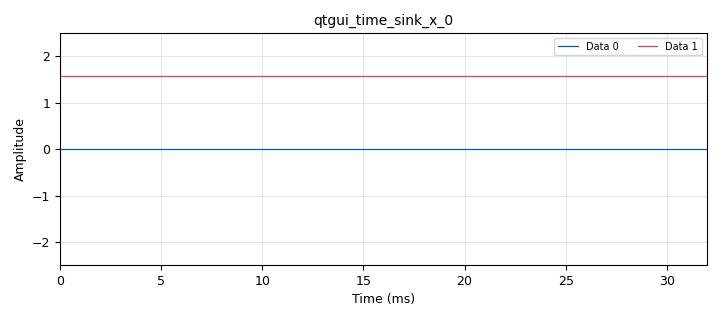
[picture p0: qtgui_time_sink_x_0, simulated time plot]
<?xml version='1.0' encoding='utf-8'?>
<?grc format='1' created='3.7.7'?>
<flow_graph>
<block>
<key>analog_sig_source_x</key>
<param><key>id</key><value>analog_sig_source_x_0</value></param>
<param><key>type</key><value>float</value></param>
<param><key>samp_rate</key><value>samp_rate</value></param>
<param><key>waveform</key><value>analog.GR_COS_WAVE</value></param>
<param><key>freq</key><value>freq</value></param>
<param><key>amp</key><value>amp</value></param>
<param><key>offset</key><value>0</value></param>
</block>
<block>
<key>variable</key>
<param><key>id</key><value>samp_rate</value></param>
<param><key>value</key><value>32000</value></param>
</block>
<block>
<key>blocks_throttle</key>
<param><key>id</key><value>blocks_throttle_0</value></param>
<param><key>type</key><value>float</value></param>
<param><key>samples_per_second</key><value>samp_rate</value></param>
</block>
<block>
<key>analog_phase_modulator_fc</key>
<param><key>id</key><value>analog_phase_modulator_fc_0</value></param>
<param><key>sensitivity</key><value>1</value></param>
</block>
<block>
<key>blocks_complex_to_real</key>
<param><key>id</key><value>blocks_complex_to_real_0</value></param>
</block>
<block>
<key>qtgui_time_sink_x</key>
<param><key>id</key><value>qtgui_time_sink_x_0</value></param>
<param><key>type</key><value>float</value></param>
<param><key>name</key><value></value></param>
<param><key>size</key><value>1024</value></param>
<param><key>srate</key><value>samp_rate</value></param>
<param><key>ymin</key><value>-2.5</value></param>
<param><key>ymax</key><value>2.5</value></param>
<param><key>nconnections</key><value>2</value></param>
<param><key>label1</key><value></value></param>
<param><key>color1</key><value>"blue"</value></param>
<param><key>label2</key><value></value></param>
<param><key>color2</key><value>"red"</value></param>
</block>
<block>
<key>variable_qtgui_range</key>
<param><key>id</key><value>amp</value></param>
<param><key>label</key><value>Amplitude</value></param>
<param><key>value</key><value>math.pi/2.0</value></param>
<param><key>start</key><value>-5</value></param>
<param><key>stop</key><value>5</value></param>
<param><key>step</key><value>0.1</value></param>
<param><key>orient</key><value>Qt.Horizontal</value></param>
<param><key>gui_hint</key><value>0,0,1,1</value></param>
</block>
<block>
<key>variable_qtgui_range</key>
<param><key>id</key><value>freq</value></param>
<param><key>label</key><value>Frequency</value></param>
<param><key>value</key><value>0</value></param>
<param><key>start</key><value>0</value></param>
<param><key>stop</key><value>1000</value></param>
<param><key>step</key><value>1</value></param>
<param><key>orient</key><value>Qt.Horizontal</value></param>
<param><key>gui_hint</key><value>0,1,1,1</value></param>
</block>
<block>
<key>options</key>
<param><key>id</key><value>analog_phase_modulator</value></param>
<param><key>generate_options</key><value>qt_gui</value></param>
<param><key>category</key><value>Custom</value></param>
<param><key>run_options</key><value>run</value></param>
</block>
<block>
<key>import</key>
<param><key>id</key><value>import_0</value></param>
<param><key>import</key><value>import math</value></param>
</block>
<connection><source_block_id>blocks_throttle_0</source_block_id><sink_block_id>qtgui_time_sink_x_0</sink_block_id><source_key>0</source_key><sink_key>1</sink_key></connection>
<connection><source_block_id>blocks_complex_to_real_0</source_block_id><sink_block_id>qtgui_time_sink_x_0</sink_block_id><source_key>0</source_key><sink_key>0</sink_key></connection>
<connection><source_block_id>blocks_throttle_0</source_block_id><sink_block_id>analog_phase_modulator_fc_0</sink_block_id><source_key>0</source_key><sink_key>0</sink_key></connection>
<connection><source_block_id>analog_sig_source_x_0</source_block_id><sink_block_id>blocks_throttle_0</sink_block_id><source_key>0</source_key><sink_key>0</sink_key></connection>
<connection><source_block_id>analog_phase_modulator_fc_0</source_block_id><sink_block_id>blocks_complex_to_real_0</sink_block_id><source_key>0</source_key><sink_key>0</sink_key></connection>
</flow_graph>
